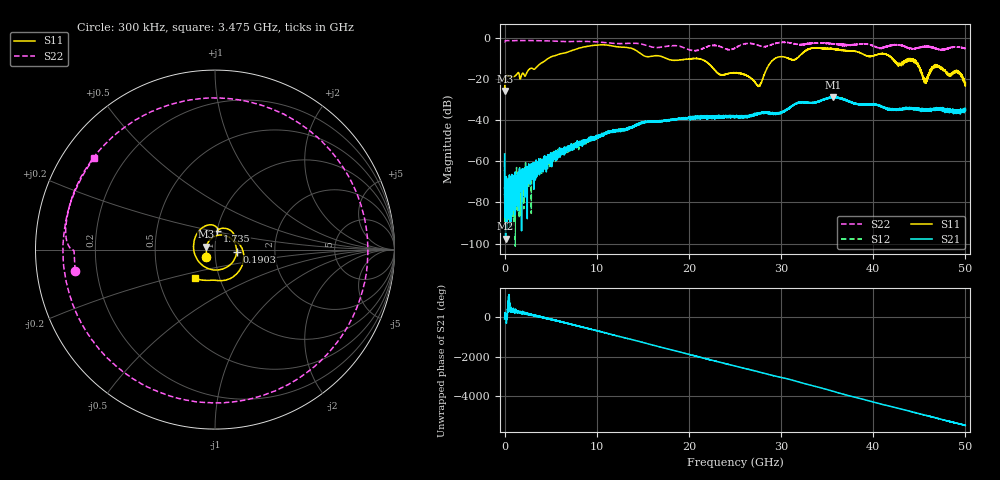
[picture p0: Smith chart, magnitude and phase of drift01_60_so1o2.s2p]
!Created with skrf (http://scikit-rf.org).
# Hz S RI R 50.0
!freq ReS11 ImS11 ReS21 ImS21 ReS12 ImS12 ReS22 ImS22
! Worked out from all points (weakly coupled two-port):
!   10001 points, 300 kHz to 50 GHz, reference 50 ohm
!   highest |S21| = -28.77 dB at 35.63 GHz (marker M1); lowest = -97.5 dB at 110.3 MHz (marker M2)
!   lowest |S11| = -25.8 dB at 5.3 MHz (marker M3), VSWR 1.11, Z = 45.3 + j1.42 ohm
!   |S11| at or under -10 dB: start of sweep to 4.767 GHz; 17.52 GHz to 29.39 GHz (11.88 GHz wide, 50.6 % of centre); 43.99 GHz to end of sweep (the widest 3 of 7)
!   |S22| runs from -6.4 to -1.4 dB; largest |S21 - S12| = 0.0033
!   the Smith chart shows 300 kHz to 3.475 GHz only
!   S11 on the Smith chart (normalised r, x): 300 kHz: 0.91, -0.07; 190.3 MHz: 1.27, -0.03; 1.735 GHz: 1.00, +0.21; 3.475 GHz: 0.77, -0.25
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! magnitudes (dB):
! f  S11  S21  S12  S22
! 300 kHz  -24.1  -56.4  -60.3  -2.1
! 5.3 MHz  -25.8  -76.4  -80.8  -2.1
! 110.3 MHz  -18.8  -97.5  -84.5  -1.5
! 190.3 MHz  -18.4  -73.0  -87.5  -1.4
! 1.735 GHz  -19.6  -66.4  -66.5  -1.4
! 3.475 GHz  -14.3  -67.5  -63.2  -1.5
! 8.335 GHz  -4.8  -51.0  -51.5  -1.8
! 16.67 GHz  -8.8  -40.6  -40.4  -4.8
! 21.21 GHz  -10.3  -38.6  -37.9  -5.8
! 23.38 GHz  -18.0  -38.4  -38.5  -4.3
! 25 GHz  -17.0  -38.5  -38.3  -5.1
! 27.59 GHz  -23.4  -36.5  -36.7  -3.7
! 29.3 GHz  -10.3  -37.0  -36.8  -2.8
! 31.47 GHz  -10.7  -32.4  -32.4  -2.9
! 33.34 GHz  -5.1  -31.8  -31.7  -2.7
! 35.63 GHz  -5.6  -28.8  -29.0  -2.9
! 41.67 GHz  -8.7  -34.5  -34.7  -4.2
! 42.79 GHz  -12.9  -34.5  -34.8  -3.5
! 44.49 GHz  -11.0  -34.4  -34.0  -5.3
! 45.63 GHz  -20.0  -35.7  -34.8  -4.3
! 46.93 GHz  -13.5  -34.7  -34.9  -5.5
! 50 GHz  -22.0  -34.7  -34.8  -5.3
